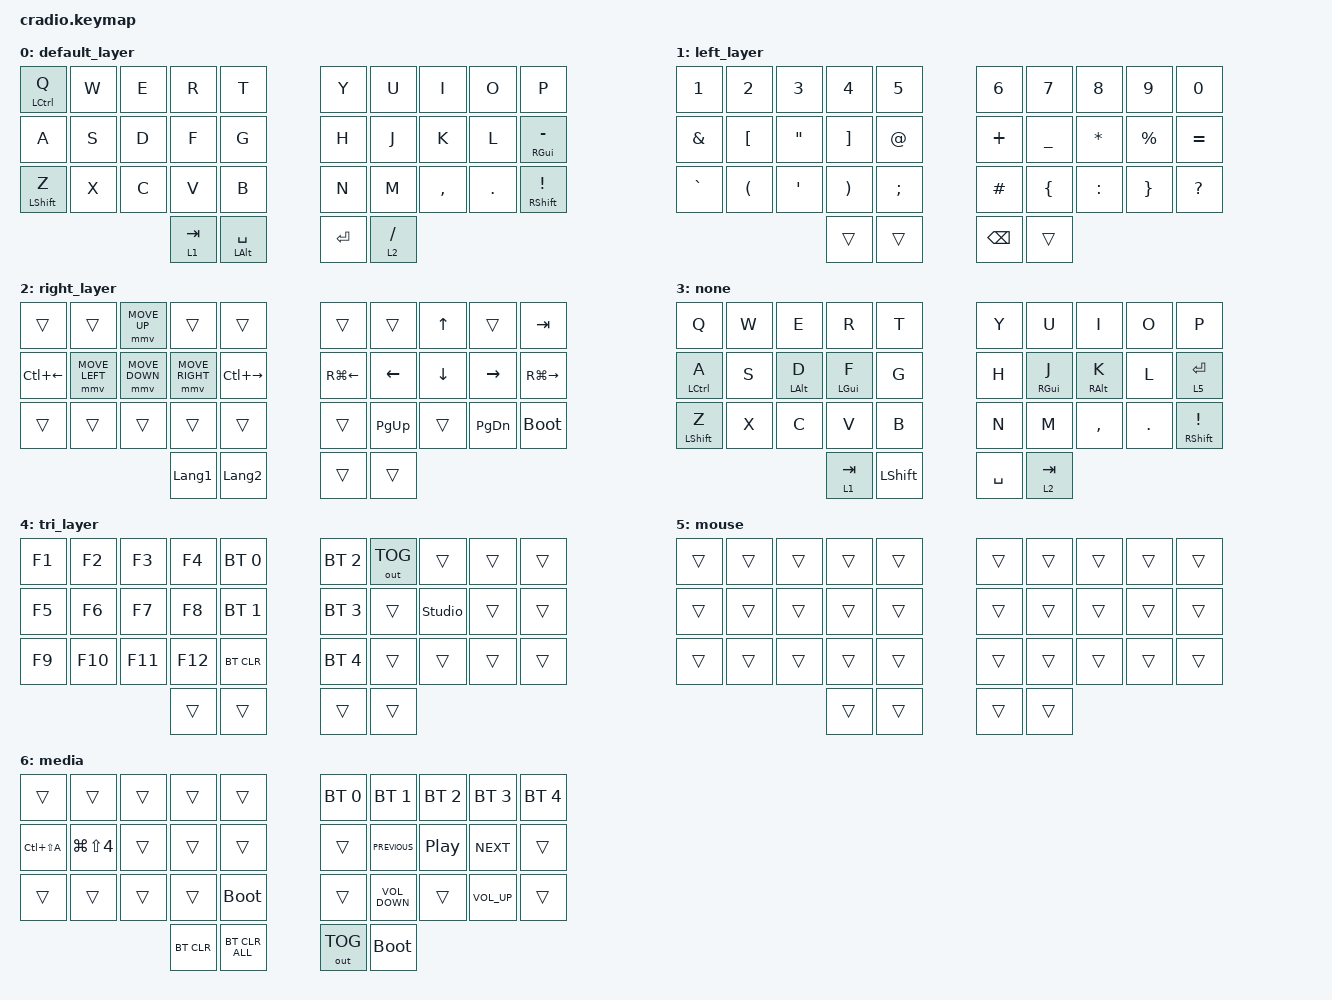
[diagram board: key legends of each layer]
// Copyright (c) 2022 The ZMK Contributors
// SPDX-License-Identifier: MIT

#define ZMK_MOUSE_DEFAULT_MOVE_VAL 2500  // 600
#define ZMK_MOUSE_DEFAULT_SCRL_VAL 20    // 10

#include <dt-bindings/zmk/mouse.h>
#include <behaviors.dtsi>
#include <dt-bindings/zmk/bt.h>
#include <dt-bindings/zmk/keys.h>
#include <dt-bindings/zmk/outputs.h>
#include <dt-bindings/zmk/pointing.h>

#define MAC 0
#define WIN 1
#define RIG 2
#define LEF 3
#define TRI 4
#define MOUSE 5

/ {
    chosen { zmk,charmap = &charmap_us; };

    behaviors {
        ht: hold_tap {
            label = "hold_tap";
            compatible = "zmk,behavior-hold-tap";
            #binding-cells = <2>;
            flavor = "tap-preferred";
            tapping-term-ms = <140>;
            quick-tap-ms = <120>;
            global-quick-tap;
            bindings = <&kp>, <&kp>;
        };

        mmv {
            acceleration-exponent = <1>;      // 1
            time-to-max-speed-ms = <300>;    // 40
            delay-ms = <0>;                   // 0
        };

        msc {
            acceleration-exponent = <0>;      // 0
            time-to-max-speed-ms = <40>;      // 500
            delay-ms = <0>;                   // 10
        };
    };

    conditional_layers {
        compatible = "zmk,conditional-layers";

        tri_layer {
            if-layers = <2 1>;
            then-layer = <4>;
        };
    };

    combos {
        compatible = "zmk,combos";

        hiragana {
            bindings = <&kp LANGUAGE_1>;
            key-positions = <24 23>;
        };

        eisu {
            bindings = <&kp LANGUAGE_2>;
            key-positions = <25 26>;
        };

        kagikakkoL {
            bindings = <&kp LEFT_BRACKET>;
            key-positions = <13 12>;
        };

        kagikakkoR {
            bindings = <&kp RIGHT_BRACKET>;
            key-positions = <16 17>;
        };

        tab {
            bindings = <&kp TAB>;
            key-positions = <0 1>;
        };

        esc {
            bindings = <&kp ESCAPE>;
            key-positions = <8 9>;
        };

        marukakkoL {
            bindings = <&kp LEFT_PARENTHESIS>;
            key-positions = <13 11>;
        };

        marukakkoR {
            bindings = <&kp RIGHT_PARENTHESIS>;
            key-positions = <16 18>;
        };

        layer6 {
            bindings = <&mo 6>;
            key-positions = <4 3>;
        };
    };

    keymap {
        compatible = "zmk,keymap";

        default_layer {
            bindings = <
&mt LEFT_CONTROL Q  &kp W  &kp E  &kp R      &kp T                 &kp Y      &kp U        &kp I      &kp O    &kp P
&kp A               &kp S  &kp D  &kp F      &kp G                 &kp H      &kp J        &kp K      &kp L    &mt RIGHT_GUI MINUS
&mt LEFT_SHIFT Z    &kp X  &kp C  &kp V      &kp B                 &kp N      &kp M        &kp COMMA  &kp DOT  &mt RIGHT_SHIFT EXCLAMATION
                                  &lt 1 TAB  &mt LEFT_ALT SPACE    &kp ENTER  &lt 2 SLASH
            >;
        };

        left_layer {
            bindings = <
&kp NUMBER_1   &kp NUMBER_2          &kp NUMBER_3       &kp NUMBER_4           &kp NUMBER_5     &kp NUMBER_6   &kp NUMBER_7    &kp NUMBER_8  &kp NUMBER_9     &kp NUMBER_0
&kp AMPERSAND  &kp LEFT_BRACKET      &kp DOUBLE_QUOTES  &kp RIGHT_BRACKET      &kp AT           &kp PLUS       &kp UNDER       &kp ASTERISK  &kp PERCENT      &kp EQUAL
&kp GRAVE      &kp LEFT_PARENTHESIS  &kp SINGLE_QUOTE   &kp RIGHT_PARENTHESIS  &kp SEMICOLON    &kp HASH       &kp LEFT_BRACE  &kp COLON     &kp RIGHT_BRACE  &kp QMARK
                                                        &trans                 &trans           &kp BACKSPACE  &trans
            >;
        };

        right_layer {
            bindings = <
&trans              &trans          &mmv MOVE_UP    &trans           &trans                 &trans              &trans          &kp UP_ARROW    &trans         &kp TAB
&kp LC(LEFT_ARROW)  &mmv MOVE_LEFT  &mmv MOVE_DOWN  &mmv MOVE_RIGHT  &kp LC(RIGHT_ARROW)    &kp RG(LEFT_ARROW)  &kp LEFT_ARROW  &kp DOWN_ARROW  &kp RIGHT      &kp RG(RIGHT_ARROW)
&trans              &trans          &trans          &trans           &trans                 &trans              &kp PAGE_UP     &trans          &kp PAGE_DOWN  &bootloader
                                                    &kp LANGUAGE_1   &kp LANGUAGE_2         &trans              &trans
            >;
        };

        none {
            bindings = <
&kp Q             &kp W  &kp E           &kp R           &kp T         &kp Y      &kp U            &kp I            &kp O    &kp P
&ht LCTRL A       &kp S  &ht LEFT_ALT D  &ht LEFT_GUI F  &kp G         &kp H      &ht RIGHT_GUI J  &ht RIGHT_ALT K  &kp L    &lt 5 ENTER
&ht LEFT_SHIFT Z  &kp X  &kp C           &kp V           &kp B         &kp N      &kp M            &kp COMMA        &kp DOT  &ht RIGHT_SHIFT EXCLAMATION
                                         &lt 1 TAB       &kp LSHIFT    &kp SPACE  &lt 2 TAB
            >;
        };

        tri_layer {
            bindings = <
&kp F1  &kp F2   &kp F3   &kp F4   &bt BT_SEL 0    &bt BT_SEL 2  &out OUT_TOG  &trans          &trans  &trans
&kp F5  &kp F6   &kp F7   &kp F8   &bt BT_SEL 1    &bt BT_SEL 3  &trans        &studio_unlock  &trans  &trans
&kp F9  &kp F10  &kp F11  &kp F12  &bt BT_CLR      &bt BT_SEL 4  &trans        &trans          &trans  &trans
                          &trans   &trans          &trans        &trans
            >;
        };

        mouse {
            bindings = <
&trans  &trans  &trans  &trans  &trans    &trans  &trans  &trans  &trans  &trans
&trans  &trans  &trans  &trans  &trans    &trans  &trans  &trans  &trans  &trans
&trans  &trans  &trans  &trans  &trans    &trans  &trans  &trans  &trans  &trans
                        &trans  &trans    &trans  &trans
            >;
        };

        media {
            bindings = <
&trans         &trans                &trans  &trans      &trans            &bt BT_SEL 0  &bt BT_SEL 1       &bt BT_SEL 2      &bt BT_SEL 3     &bt BT_SEL 4
&kp LC(LS(A))  &kp LG(LS(NUMBER_4))  &trans  &trans      &trans            &trans        &kp C_PREVIOUS     &kp C_PLAY_PAUSE  &kp C_NEXT       &trans
&trans         &trans                &trans  &trans      &bootloader       &trans        &kp C_VOLUME_DOWN  &trans            &kp C_VOLUME_UP  &trans
                                             &bt BT_CLR  &bt BT_CLR_ALL    &out OUT_TOG  &bootloader
            >;
        };
    };
};
